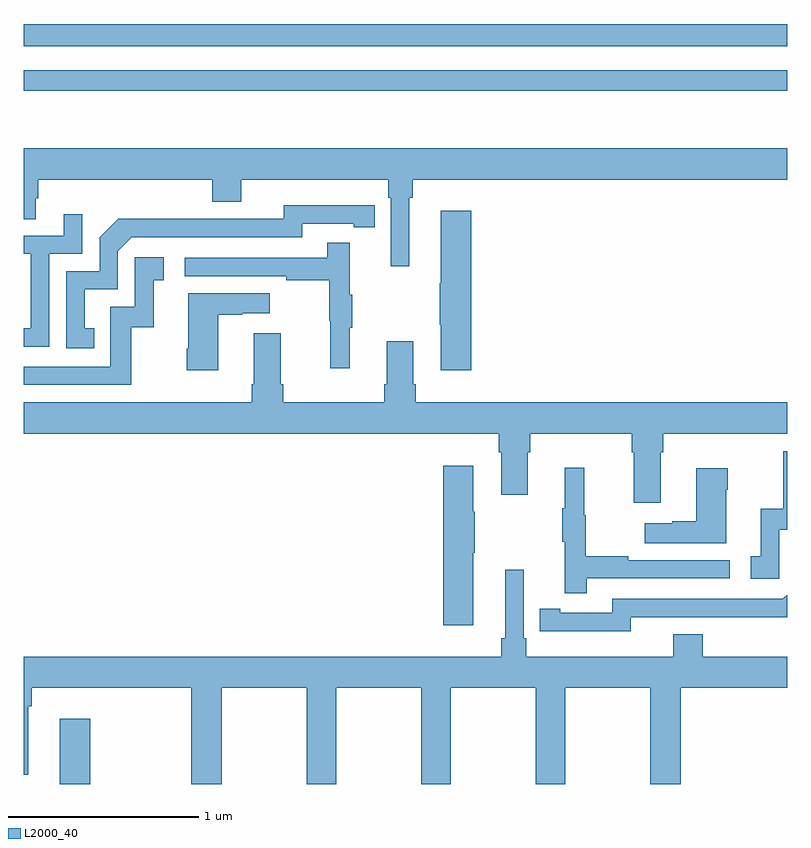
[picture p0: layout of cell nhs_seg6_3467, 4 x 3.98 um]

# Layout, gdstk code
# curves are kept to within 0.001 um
import gdstk
lib = gdstk.Library(unit=1e-6, precision=1e-09)
def R(c, l, rs):  # rectangles x0, y0, x1, y1
    for r in rs: c.add(gdstk.rectangle(r[:2], r[2:], *l))
def P(c, l, *ps):  # polygons
    for p in ps: c.add(gdstk.Polygon(p, *l))
L2000_40 = (2000, 40)

nhs_seg6_3467 = lib.new_cell('nhs_seg6_3467')
R(nhs_seg6_3467, L2000_40, [(315.188,945.5,315.347,945.841), (315,949.134,319,949.242), (315,949.368,319,949.484)])
P(nhs_seg6_3467, L2000_40, [(317.02,948.572),(317.039,948.572),(317.039,948.668),(319,948.668),(319,948.832),(315,948.832),(315,948.46),(315.061,948.46),(315.061,948.57),(315.074,948.57),(315.074,948.668),(315.986,948.668),(315.986,948.551),(316.138,948.551),(316.138,948.668),(316.91,948.668),(316.91,948.572),(316.923,948.572),(316.923,948.213),(317.02,948.213)],
  [(315.368,947.889),(315.319,947.889),(315.319,948.093),(315.492,948.093),(315.492,948.294),(315.564,948.366),(316.458,948.366),(316.458,948.438),(316.73,948.438),(316.73,948.418),(316.838,948.418),(316.838,948.534),(316.362,948.535),(316.362,948.462),(315.902,948.462),(315.902,948.464),(315.494,948.464),(315.396,948.366),(315.396,948.189),(315.222,948.189),(315.222,947.784),(315.368,947.784)],
  [(317.345,948.505),(317.186,948.505),(317.186,948.125),(317.179,948.125),(317.179,947.908),(317.186,947.908),(317.186,947.67),(317.345,947.67)],
  [(315.132,948.279),(315.306,948.279),(315.306,948.487),(315.209,948.487),(315.209,948.375),(315,948.375),(315,948.279),(315.036,948.279),(315.036,947.89),(315,947.89),(315,947.793),(315.132,947.793)],
  [(316.709,947.891),(316.72,947.891),(316.72,948.065),(316.709,948.065),(316.709,948.337),(316.591,948.337),(316.591,948.258),(315.843,948.258),(315.843,948.162),(316.375,948.162),(316.375,948.142),(316.599,948.142),(316.599,947.928),(316.606,947.928),(316.606,947.679),(316.709,947.679)],
  [(315.562,947.895),(315.68,947.895),(315.68,948.141),(315.733,948.141),(315.733,948.262),(315.582,948.262),(315.582,948.003),(315.453,948.003),(315.453,947.688),(315,947.688),(315,947.592),(315.562,947.592)],
  [(316.018,947.959),(316.145,947.959),(316.145,947.969),(316.288,947.969),(316.288,948.073),(315.86,948.073),(315.86,947.782),(315.853,947.782),(315.853,947.67),(316.018,947.67)],
  [(318.337,947.24),(318.35,947.24),(318.35,947.336),(319,947.336),(319,947.5),(317.054,947.5),(317.054,947.596),(317.041,947.596),(317.041,947.821),(316.901,947.821),(316.901,947.596),(316.889,947.596),(316.889,947.5),(316.358,947.5),(316.358,947.596),(316.345,947.596),(316.345,947.863),(316.205,947.863),(316.205,947.596),(316.193,947.596),(316.193,947.5),(315,947.5),(315,947.336),(317.489,947.336),(317.489,947.24),(317.501,947.24),(317.501,947.016),(317.641,947.016),(317.641,947.24),(317.654,947.24),(317.654,947.336),(318.185,947.336),(318.185,947.24),(318.197,947.24),(318.197,946.974),(318.337,946.974)],
  [(318.96,946.833),(319,946.833),(319,947.244),(318.981,947.244),(318.981,946.942),(318.863,946.942),(318.863,946.695),(318.81,946.695),(318.81,946.575),(318.96,946.575)],
  [(317.356,946.711),(317.364,946.711),(317.364,946.928),(317.356,946.928),(317.356,947.167),(317.198,947.167),(317.198,946.332),(317.356,946.332)],
  [(317.951,946.578),(318.7,946.578),(318.7,946.674),(318.167,946.674),(318.167,946.694),(317.944,946.694),(317.944,946.908),(317.936,946.908),(317.936,947.158),(317.834,947.158),(317.834,946.945),(317.823,946.945),(317.823,946.771),(317.834,946.771),(317.834,946.5),(317.951,946.5)],
  [(318.682,947.042),(318.69,947.042),(318.69,947.155),(318.524,947.155),(318.524,946.877),(318.398,946.877),(318.398,946.867),(318.255,946.867),(318.255,946.763),(318.682,946.763)],
  [(316.038,946.004),(316.483,946.004),(316.483,945.5),(316.638,945.5),(316.638,946.004),(317.083,946.004),(317.083,945.5),(317.238,945.5),(317.238,946.004),(317.683,946.004),(317.683,945.5),(317.838,945.5),(317.838,946.004),(318.283,946.004),(318.283,945.5),(318.443,945.5),(318.443,946.004),(319,946.004),(319,946.168),(318.557,946.168),(318.557,946.285),(318.404,946.285),(318.404,946.168),(317.633,946.168),(317.633,946.264),(317.619,946.264),(317.619,946.624),(317.522,946.624),(317.522,946.264),(317.503,946.264),(317.503,946.168),(315,946.168),(315,945.549),(315.022,945.549),(315.022,945.908),(315.041,945.908),(315.041,946.004),(315.878,946.004),(315.878,945.5),(316.038,945.5)],
  [(318.18,946.374),(319,946.373),(319,946.492),(318.978,946.47),(318.084,946.47),(318.084,946.398),(317.812,946.398),(317.812,946.418),(317.704,946.418),(317.704,946.302),(318.18,946.301)])

lib.write_gds('nhs_seg6_3467.gds')
